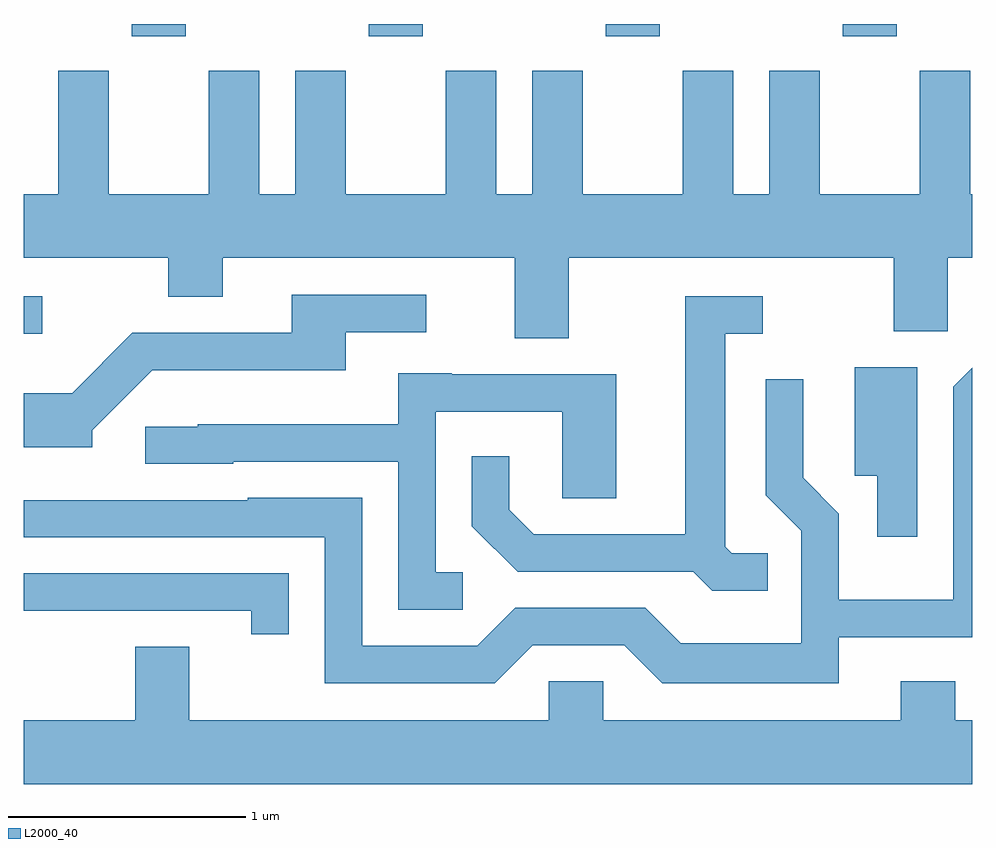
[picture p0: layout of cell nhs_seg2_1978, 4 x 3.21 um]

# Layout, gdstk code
import gdstk
lib = gdstk.Library(unit=1e-6, precision=1e-09)
def R(c, l, rs):  # rectangles x0, y0, x1, y1
    for r in rs: c.add(gdstk.rectangle(r[:2], r[2:], *l))
def A(c, l, x, y, w, h, nx, ny, dx, dy):  # array of equal rectangles
    R(c, l, [(x+i*dx, y+j*dy, x+i*dx+w, y+j*dy+h) for i in range(nx) for j in range(ny)])
def P(c, l, *ps):  # polygons
    for p in ps: c.add(gdstk.Polygon(p, *l))
L2000_40 = (2000, 40)

nhs_seg2_1978 = lib.new_cell('nhs_seg2_1978')
A(nhs_seg2_1978, L2000_40, 244.066, 993.751, 0.228, 0.051, 4, 1, 1, 0)
R(nhs_seg2_1978, L2000_40, [(243.611,992.496,243.688,992.654)])
P(nhs_seg2_1978, L2000_40, [(245.909,992.816),(247.281,992.816),(247.281,992.506),(247.509,992.506),(247.509,992.816),(247.611,992.816),(247.611,993.084),(247.604,993.084),(247.604,993.604),(247.391,993.604),(247.391,993.084),(246.969,993.084),(246.969,993.604),(246.756,993.604),(246.756,993.084),(246.604,993.084),(246.604,993.604),(246.391,993.604),(246.391,993.084),(245.969,993.084),(245.969,993.604),(245.756,993.604),(245.756,993.084),(245.604,993.084),(245.604,993.604),(245.391,993.604),(245.391,993.084),(244.969,993.084),(244.969,993.604),(244.756,993.604),(244.756,993.084),(244.604,993.084),(244.604,993.604),(244.391,993.604),(244.391,993.084),(243.969,993.084),(243.969,993.604),(243.756,993.604),(243.756,993.084),(243.611,993.084),(243.611,992.816),(244.221,992.816),(244.221,992.651),(244.449,992.651),(244.449,992.816),(245.681,992.816),(245.681,992.476),(245.909,992.476)],
  [(243.899,992.089),(244.152,992.341),(244.969,992.341),(244.969,992.501),(245.308,992.501),(245.308,992.659),(244.741,992.659),(244.741,992.499),(244.069,992.499),(243.814,992.244),(243.611,992.244),(243.611,992.016),(243.899,992.016)],
  [(246.748,991.569),(246.597,991.569),(246.569,991.597),(246.569,992.496),(246.728,992.496),(246.728,992.654),(246.401,992.654),(246.401,991.649),(245.762,991.649),(245.659,991.752),(245.659,991.978),(245.501,991.978),(245.501,991.684),(245.694,991.491),(246.434,991.491),(246.514,991.411),(246.748,991.411)],
  [(247.379,992.354),(247.116,992.354),(247.116,991.896),(247.211,991.896),(247.211,991.638),(247.379,991.638)],
  [(245.757,991.181),(246.144,991.181),(246.304,991.021),(247.049,991.021),(247.049,991.216),(247.611,991.216),(247.611,992.352),(247.531,992.272),(247.531,991.374),(247.049,991.374),(247.049,991.737),(246.899,991.887),(246.899,992.303),(246.741,992.303),(246.741,991.814),(246.891,991.664),(246.891,991.189),(246.382,991.189),(246.232,991.339),(245.684,991.339),(245.524,991.179),(245.039,991.179),(245.039,991.804),(244.555,991.804),(244.555,991.794),(243.611,991.794),(243.611,991.636),(244.881,991.636),(244.881,991.021),(245.597,991.021)],
  [(245.463,991.489),(245.349,991.489),(245.349,992.166),(245.881,992.166),(245.881,991.801),(246.109,991.801),(246.109,992.324),(245.415,992.324),(245.415,992.329),(245.191,992.329),(245.191,992.114),(244.345,992.114),(244.345,992.104),(244.123,992.104),(244.123,991.946),(244.495,991.946),(244.495,991.956),(245.191,991.956),(245.191,991.331),(245.463,991.331)],
  [(244.729,991.484),(243.611,991.484),(243.611,991.326),(244.571,991.326),(244.571,991.228),(244.729,991.228)],
  [(247.611,990.864),(247.539,990.864),(247.539,991.029),(247.311,991.029),(247.311,990.864),(246.054,990.864),(246.054,991.029),(245.826,991.029),(245.826,990.864),(244.309,990.864),(244.309,991.174),(244.081,991.174),(244.081,990.864),(243.611,990.864),(243.611,990.596),(247.611,990.596)])

lib.write_gds('nhs_seg2_1978.gds')
